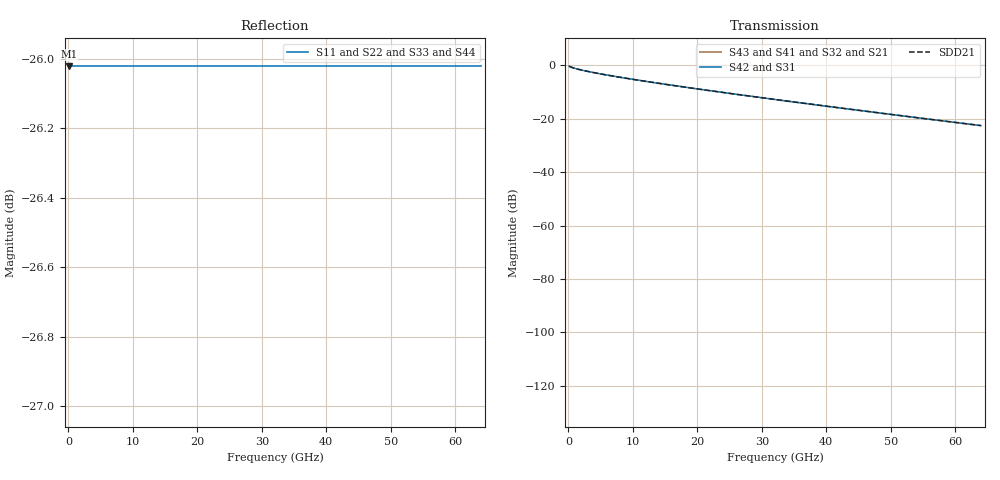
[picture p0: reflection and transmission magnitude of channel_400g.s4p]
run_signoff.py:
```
import sys
import os
import json
import yaml
import numpy as np

# Ensure src is in path
sys.path.insert(0, os.getcwd())

from src.itf_parser import ITFParser
from src.lib_parser import LibertyParser
from src.thermal import ThermalAuditor
from src.physics import SerdesPhysicsEngine
from src.timing import TimingAuditor

def execute_signoff():
    print("📋 Initializing 128G SerDes Sign-off Report...")
    
    # 1. Load Parsers
    itf = ITFParser("data/technology/process_3nm.itf")
    lib = LibertyParser("data/technology/liberty_3nm.lib")
    
    # 2. Load Optimized Config
    config_path = "config/best_config.yaml"
    with open(config_path, "r") as f:
        config = yaml.safe_load(f)
    
    # 3. Get the Thermal Prediction (Worst Case)
    auditor = ThermalAuditor(itf, lib)
    # Pass config to auditor to capture 'dfe_tap1_mv' penalty
    worst_rpt = auditor.generate_distribution_report(temp_c=125, config=config)
    
    # 4. Calculate Actual Operating Tj with Heat Spreading
    # Base Package Rth is 0.42 C/mW for a 10um2 compact layout.
    # Increasing area improves spreading resistance.
    base_area = 10.0
    actual_area = config.get('equalizer_parameters', {}).get('dfe_tap_area_um2', 10.0)
    
    # Simple spreading model: Rth scales with 1/sqrt(Area)
    spreading_factor = np.sqrt(actual_area / base_area)
    package_rth = 0.42 / spreading_factor
    
    # --- THERMAL CONVERGENCE LOOP ---
    # Leakage depends on Temp, and Temp depends on Power (Leakage).
    # We iterate to find the steady-state operating point.
    current_tj = 100.0 # Start with a pessimistic guess
    print(f"🔥 Thermal Audit (Converging...):")
    print(f"   Physical Layout: {actual_area} um2 (Spreading Factor: {spreading_factor:.2f}x)")
    print(f"   Effective Rth: {package_rth:.3f} C/mW")
    
    for i in range(5):
        worst_rpt = auditor.generate_distribution_report(temp_c=current_tj, config=config)
        total_mw = worst_rpt['summary']['total_power_mw']
        
        new_tj = 25.0 + (total_mw * package_rth)
        delta = abs(new_tj - current_tj)
        print(f"   Iter {i+1}: Power={total_mw:.1f}mW -> Tj={new_tj:.1f}C (Delta={delta:.1f}C)")
        
        if delta < 0.5:
            current_tj = new_tj
            break
        current_tj = new_tj

    thermal_delta_c = current_tj - 25.0
    actual_tj = current_tj
    
    print(f"   ✅ Converged Operating Tj: {actual_tj:.1f} C")

    # 5. TIMING AUDIT (New Speed Check)
    timing_auditor = TimingAuditor(config)
    timing_res = timing_auditor.check_timing(data_rate_gbps=128)
    print(f"⏱️  Timing Audit:")
    print(f"    UI Time: {timing_res['ui_ps']} ps")
    print(f"    Critical Path: {timing_res['t_dead_zone_ps']} ps (Slicer+Latch)")
    print(f"    Jitter Budget: {timing_res['t_jitter_ps']} ps")
    print(f"    Timing Margin: {timing_res['margin_ps']} ps ({timing_res['verdict']})")

    # 6. FEEDBACK LOOP: Run Physics with Actual Tj
    physics_engine = SerdesPhysicsEngine(
        touchstone_path='data/channel_400g.s4p',
        tech_file='config/tech_3nm.yaml',
        params_file=config_path
    )
    
    # Pass dfe_tap1_mv if needed, though physics engine primarily uses 'dfe_taps' array.
    # The 'tax' is applied via temperature_c.
    # We use 128Gbps as standard for this project.
    final_results, _ = physics_engine.get_full_waterfall(data_rate_gbps=128, temperature_c=actual_tj)
    
    # Extract Stage 6 (Final) metrics
    final_stage = final_results[6]

    # 7. Final Verdict Logic
    # Must pass ALL: Power (<70mW), Taxed Margins (>0.48 UI), AND Timing (>0 ps)
    is_passing = (
        total_mw < 70.0 and 
        final_stage['horiz_ui'] >= 0.48 and
        final_stage['vert_mv'] >= 36.0 and
        timing_res['verdict'] == 'PASS'
    )
    
    verdict = "PASS" if is_passing else "FAIL"

    report = {
        "design_id": "PCIe7_3nm_128G_v1",
        "verdict": verdict,
        "metrics": {
            "eye_height_mv": round(final_stage['vert_mv'], 2),
            "eye_width_ui": round(final_stage['horiz_ui'], 3),
            "tj_c": round(actual_tj, 1),
            "timing_margin_ps": timing_res['margin_ps']
        },
        "power_mw": round(total_mw, 2),
        "thermal_delta_c": round(thermal_delta_c, 2),
        "timing": timing_res,
        "typical_report": auditor.generate_distribution_report(temp_c=25, config=config),
        "worst_case_report": worst_rpt
    }
    
    with open("reports/signoff_report.json", "w") as f:
        json.dump(report, f, indent=4)
        
    print(f"✅ Sign-off Complete. Verdict: {verdict}")
    if not is_passing:
        reasons = []
        if total_mw >= 70: reasons.append(f"Power {total_mw:.1f} > 70mW")
        if final_stage['horiz_ui'] < 0.48: reasons.append(f"Horiz {final_stage['horiz_ui']:.3f} < 0.48 UI")
        if final_stage['vert_mv'] < 36.0: reasons.append(f"Vert {final_stage['vert_mv']:.1f} < 36.0 mV")
        if timing_res['verdict'] == 'FAIL': reasons.append(f"Timing Margin {timing_res['margin_ps']} ps < 0")
        
        print(f"❌ Reason: {', '.join(reasons)}")


if __name__ == "__main__":
    execute_signoff()
```
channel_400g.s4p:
# GHz S RI R 50
! True 4-Port Differential Channel: 6 inches
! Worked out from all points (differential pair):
!   500 points, 100 MHz to 64 GHz, reference 50 ohm
!   strongest paths, dB at 100 MHz, 16.11 GHz, 32.11 GHz, 48.12 GHz, 64 GHz:
!     S42: -0.3, -7.5, -12.8, -17.8, -22.6
!     S31: -0.3, -7.5, -12.8, -17.8, -22.6
!     S43: -, -, -, -, -
!     S41: -, -, -, -, -
!     S32: -, -, -, -, -
!     S21: -, -, -, -, -
!   taken as a pair (ports 2,1 in; 4,3 out), SDD21 dB: -0.3, -7.5, -12.8, -17.8, -22.6
!   lowest |S11| = -26.0 dB at 100 MHz (marker M1), VSWR 1.11, Z = 55.3 + j0 ohm
!   |S11| at or under -10 dB: start of sweep to end of sweep
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0.1  0.05 0  0 0  0.7948 -0.5475  0 0
     0 0  0.05 0  0 0  0.7948 -0.5475
     0.7948 -0.5475  0 0  0.05 0  0 0
     0 0  0.7948 -0.5475  0 0  0.05 0
0.7403  0.05 0  0 0  -0.2192 0.869  0 0
        0 0  0.05 0  0 0  -0.2192 0.869
        -0.2192 0.869  0 0  0.05 0  0 0
        0 0  -0.2192 0.869  0 0  0.05 0
64  0.05 0  0 0  -0.0692 -0.0274  0 0
    0 0  0.05 0  0 0  -0.0692 -0.0274
    -0.0692 -0.0274  0 0  0.05 0  0 0
    0 0  -0.0692 -0.0274  0 0  0.05 0
